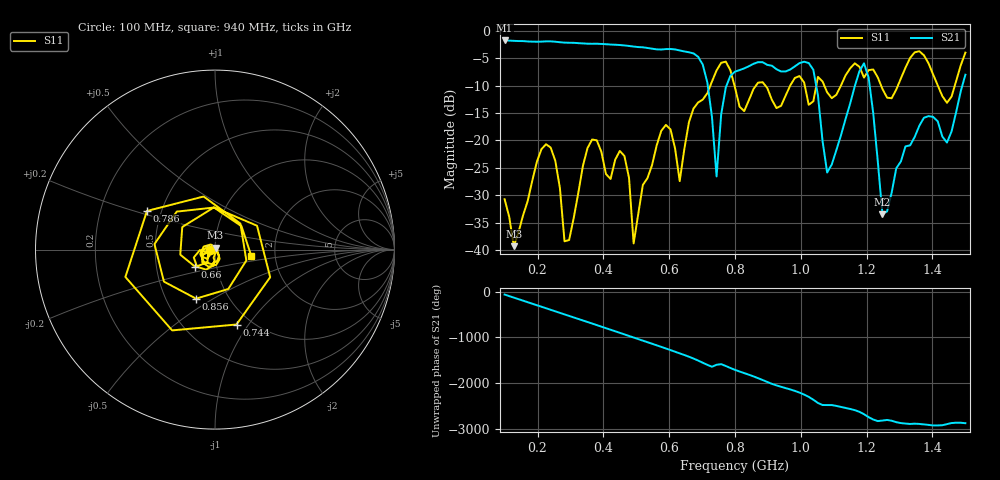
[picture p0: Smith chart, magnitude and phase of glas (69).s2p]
! NanoVNA-App
! Date: 2025-09-26 09:39:22
! Start: 100MHz Stop: 1,5GHz Points: 101
! S-Parameter data: F S11 S21 S12 S22
# Hz S RI R 50
!  Frequency  S11_Real  S11_Imag  S21_Real  S21_Imag  S12_Real  S12_Imag  S22_Real  S22_Imag
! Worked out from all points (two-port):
!   101 points, 100 MHz to 1.5 GHz, reference 50 ohm
!   highest |S21| = -1.79 dB at 100 MHz (marker M1); lowest = -33.5 dB at 1.248 GHz (marker M2)
!   |S21| within 3 dB of the highest: start of sweep to 688.2 MHz
!   lowest |S11| = -39.3 dB at 128 MHz (marker M3), VSWR 1.02, Z = 50.3 + j1.05 ohm
!   |S11| at or under -10 dB: start of sweep to 725.2 MHz; 798.3 MHz to 863.8 MHz (65.54 MHz wide, 7.89 % of centre); 892 MHz to 967.8 MHz (75.76 MHz wide, 8.15 % of centre)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
!   S12 and S22 are empty: the file has one direction only
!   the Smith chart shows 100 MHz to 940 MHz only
!   S11 on the Smith chart (normalised r, x): 100 MHz: 0.94, -0.01; 660 MHz: 0.79, -0.15; 744 MHz: 0.86, -0.88; 786 MHz: 0.42, +0.22; 856 MHz: 0.71, -0.42; 940 MHz: 1.50, -0.12
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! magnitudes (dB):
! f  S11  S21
! 100 MHz  -30.7  -1.8
! 128 MHz  -39.3  -1.9
! 212 MHz  -21.6  -2.0
! 282 MHz  -38.4  -2.2
! 338 MHz  -24.6  -2.3
! 464 MHz  -22.8  -2.7
! 492 MHz  -38.8  -2.9
! 576 MHz  -18.3  -3.4
! 632 MHz  -27.4  -3.6
! 660 MHz  -16.7  -3.9
! 716 MHz  -11.4  -9.5
! 744 MHz  -7.2  -26.6
! 786 MHz  -7.2  -8.2
! 800 MHz  -10.4  -7.5
! 856 MHz  -10.7  -6.1
! 940 MHz  -13.7  -7.4
! 1.038 GHz  -12.9  -7.1
! 1.08 GHz  -11.2  -25.9
! 1.192 GHz  -8.6  -5.9
! 1.248 GHz  -10.6  -33.5
! 1.276 GHz  -12.3  -29.5
! 1.5 GHz  -4.0  -8.0
